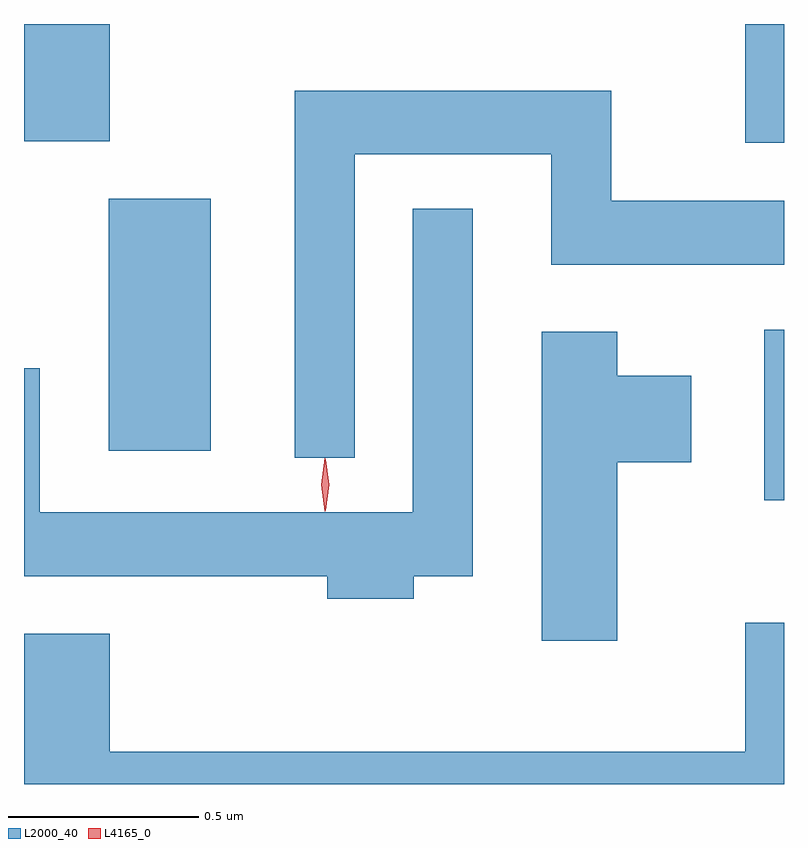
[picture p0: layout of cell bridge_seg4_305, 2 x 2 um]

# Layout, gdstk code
import gdstk
lib = gdstk.Library(unit=1e-6, precision=1e-09)
def R(c, l, rs):  # rectangles x0, y0, x1, y1
    for r in rs: c.add(gdstk.rectangle(r[:2], r[2:], *l))
def P(c, l, *ps):  # polygons
    for p in ps: c.add(gdstk.Polygon(p, *l))
L2000_40 = (2000, 40)
L4165_0 = (4165, 0)

bridge_seg4_305 = lib.new_cell('bridge_seg4_305')
R(bridge_seg4_305, L2000_40, [(539.631,1304.546,539.683,1304.994), (537.906,1304.676,538.174,1305.339), (539.581,1305.486,539.683,1305.799), (537.683,1305.491,537.909,1305.799)])
P(bridge_seg4_305, L2000_40, [(538.554,1305.456),(539.071,1305.456),(539.071,1305.166),(539.683,1305.166),(539.683,1305.334),(539.229,1305.334),(539.229,1305.624),(538.396,1305.624),(538.396,1304.658),(538.554,1304.658)],
  [(538.709,1304.346),(538.864,1304.346),(538.864,1305.313),(538.706,1305.313),(538.706,1304.514),(537.724,1304.514),(537.724,1304.893),(537.683,1304.893),(537.683,1304.346),(538.481,1304.346),(538.481,1304.286),(538.709,1304.286)],
  [(539.244,1304.646),(539.439,1304.646),(539.439,1304.874),(539.244,1304.874),(539.244,1304.989),(539.046,1304.989),(539.046,1304.176),(539.244,1304.176)],
  [(539.683,1304.224),(539.581,1304.224),(539.581,1303.884),(537.909,1303.884),(537.909,1304.194),(537.683,1304.194),(537.683,1303.799),(539.683,1303.799)])
P(bridge_seg4_305, L4165_0, [(538.474,1304.517),(538.465,1304.586),(538.474,1304.656),(538.475,1304.656),(538.476,1304.656),(538.485,1304.586),(538.476,1304.517),(538.475,1304.517)],
  [(538.476,1304.52),(538.466,1304.586),(538.476,1304.652),(538.476,1304.653),(538.477,1304.652),(538.486,1304.586),(538.477,1304.52),(538.477,1304.52)])

lib.write_gds('bridge_seg4_305.gds')
